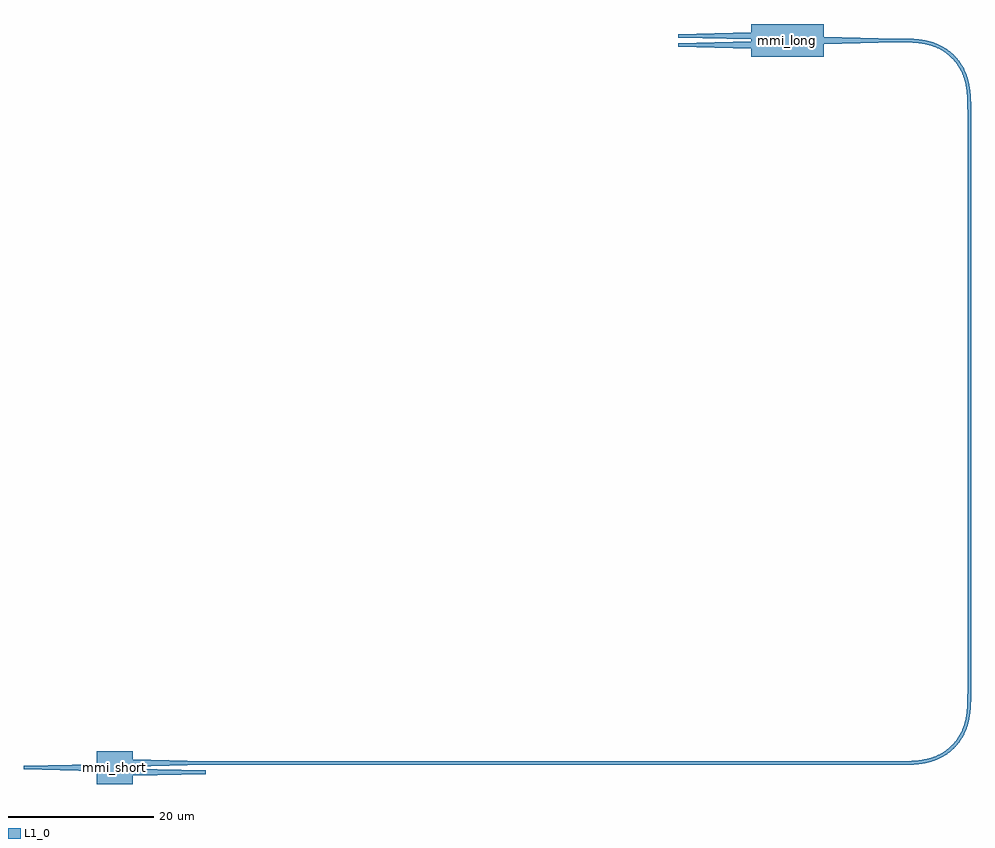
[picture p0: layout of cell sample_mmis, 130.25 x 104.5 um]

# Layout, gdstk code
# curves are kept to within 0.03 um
from math import pi, radians
import gdstk
lib = gdstk.Library(unit=1e-6, precision=1e-09)
def R(c, l, rs):  # rectangles x0, y0, x1, y1
    for r in rs: c.add(gdstk.rectangle(r[:2], r[2:], *l))
def P(c, l, *ps):  # polygons
    for p in ps: c.add(gdstk.Polygon(p, *l))
L1_0 = (1, 0)

mmi1x2_gdsfactorypcompon = lib.new_cell('mmi1x2_gdsfactorypcomponentspmmispmmi1x2_WNone_WT1_LT10_ed596653')
P(mmi1x2_gdsfactorypcompon, L1_0, [(0,-2.25),(0,-0.5),(-10,-0.25),(-10,0.25),(0,0.5),(0,2.25),(10,2.25),(10,1.125),(20,0.875),(20,0.375),(10,0.125),(10,-0.125),(20,-0.375),(20,-0.875),(10,-1.125),(10,-2.25)])

c_mmi1x2_gdsfactorypcompon = lib.new_cell('mmi1x2_gdsfactorypcomponentspmmispmmi1x2_WNone_WT1_LT10_157257e0')
P(c_mmi1x2_gdsfactorypcompon, L1_0, [(0,-2.25),(0,-0.5),(-10,-0.25),(-10,0.25),(0,0.5),(0,2.25),(5,2.25),(5,1.125),(15,0.875),(15,0.375),(5,0.125),(5,-0.125),(15,-0.375),(15,-0.875),(5,-1.125),(5,-2.25)])

bend_euler_gdsfactorypco = lib.new_cell('bend_euler_gdsfactorypcomponentspbendspbend_euler_R10_A_335c8724')
P(bend_euler_gdsfactorypco, L1_0, [(0,-0.25),(0,0.25),(1.655,0.269),(2.881,0.353),(3.952,0.52),(4.99,0.806),(5.731,1.113),(6.431,1.505),(7.079,1.976),(7.575,2.425),(8.024,2.921),(8.495,3.569),(8.887,4.269),(9.194,5.01),(9.48,6.048),(9.647,7.119),(9.731,8.345),(9.75,10),(10.25,10),(10.235,8.468),(10.158,7.205),(10.023,6.224),(9.797,5.254),(9.457,4.312),(9.066,3.545),(8.5,2.715),(7.928,2.072),(7.285,1.5),(6.455,0.934),(5.688,0.543),(4.746,0.203),(3.776,-0.023),(2.795,-0.158),(1.532,-0.235)])

straight_gdsfactorypcomp = lib.new_cell('straight_gdsfactorypcomponentspwaveguidespstraight_L95__bfe7f4db')
R(straight_gdsfactorypcomp, L1_0, [(0,-0.25,95,0.25)])

c_straight_gdsfactorypcomp = lib.new_cell('straight_gdsfactorypcomponentspwaveguidespstraight_L79p_df65654f')
R(c_straight_gdsfactorypcomp, L1_0, [(0,-0.25,79.375,0.25)])

sample_mmis = lib.new_cell('sample_mmis')
sample_mmis.add(gdstk.Reference(mmi1x2_gdsfactorypcompon, (100,100), rotation=pi))
sample_mmis.add(gdstk.Reference(c_mmi1x2_gdsfactorypcompon, (0,0)))
sample_mmis.add(gdstk.Reference(bend_euler_gdsfactorypco, (120,10.625), rotation=3*pi/2, x_reflection=True))
sample_mmis.add(gdstk.Reference(straight_gdsfactorypcomp, (15,0.625)))
sample_mmis.add(gdstk.Reference(bend_euler_gdsfactorypco, (110,100), x_reflection=True))
sample_mmis.add(gdstk.Reference(c_straight_gdsfactorypcomp, (120,10.625), rotation=pi/2))
sample_mmis.add(gdstk.Label('mmi_long', (95,100), layer=206, texttype=0))
sample_mmis.add(gdstk.Label('mmi_short', (2.5,0), layer=206, texttype=0))

lib.write_gds('sample_mmis.gds')
